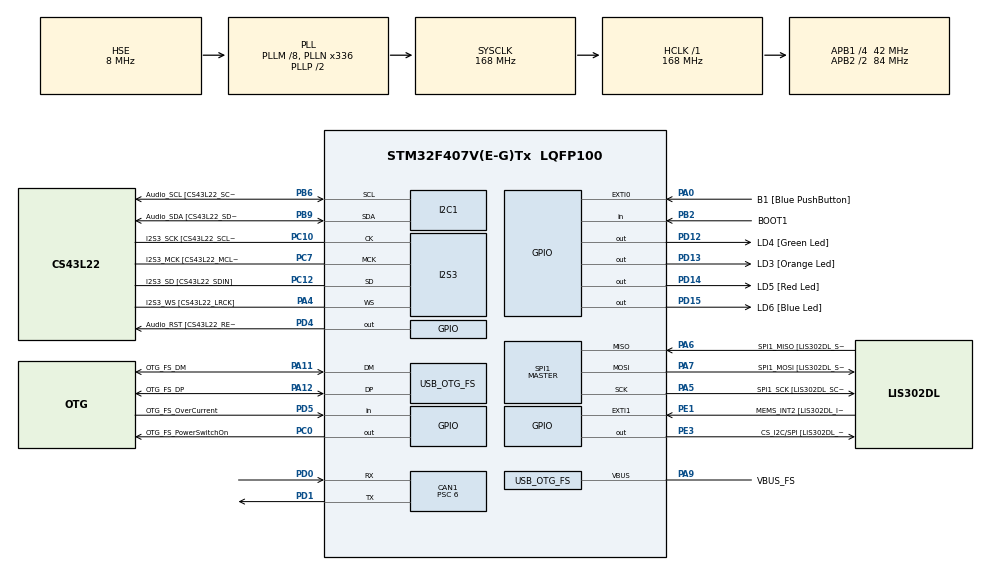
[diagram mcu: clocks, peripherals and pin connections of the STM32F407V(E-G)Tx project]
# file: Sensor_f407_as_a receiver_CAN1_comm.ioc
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CAN1.ABOM=ENABLE
CAN1.BS1=CAN_BS1_11TQ
CAN1.BS2=CAN_BS2_2TQ
CAN1.CalculateBaudRate=500000
CAN1.CalculateTimeBit=2000
CAN1.CalculateTimeQuantum=142.85714285714286
CAN1.NART=ENABLE
CAN1.Prescaler=6
I2S3.AudioFreq-Half_Duplex_Master=I2S_AUDIOFREQ_96K
I2S3.ErrorAudioFreq=-2.34 %
I2S3.ErrorAudioFreq-Half_Duplex_Master=0.8 %
I2S3.FullDuplexMode=I2S_FULLDUPLEXMODE_DISABLE
I2S3.Instance=SPI$Index
I2S3.RealAudioFreq=93.75 KHz
I2S3.RealAudioFreq-Half_Duplex_Master=96.774 KHz
I2S3.VirtualMode=I2S_MODE_MASTER
Mcu.Family=STM32F4
Mcu.Name=STM32F407V(E-G)Tx
Mcu.Package=LQFP100
NVIC.CAN1_RX0_IRQn=true\:0\:0\:false\:false\:true\:true\:true\:true
NVIC.OTG_FS_IRQn=true\:0\:0\:false\:false\:true\:true\:true\:true
NVIC.PriorityGroup=NVIC_PRIORITYGROUP_0
PA0-WKUP.GPIO_Label=B1 [Blue PushButton]
PA0-WKUP.GPIO_ModeDefaultEXTI=GPIO_MODE_EVT_RISING
PA0-WKUP.GPIO_PuPd=GPIO_NOPULL
PA0-WKUP.Signal=GPXTI0
PA10.GPIO_Label=OTG_FS_ID
PA10.GPIO_Mode=GPIO_MODE_AF_PP
PA10.GPIO_PuPd=GPIO_NOPULL
PA10.GPIO_Speed=GPIO_SPEED_FREQ_LOW
PA10.Signal=USB_OTG_FS_ID
PA11.GPIO_Label=OTG_FS_DM
PA11.GPIO_Mode=GPIO_MODE_AF_PP
PA11.GPIO_PuPd=GPIO_NOPULL
PA11.GPIO_Speed=GPIO_SPEED_FREQ_LOW
PA11.Mode=Host_Only
PA11.Signal=USB_OTG_FS_DM
PA12.GPIO_Label=OTG_FS_DP
PA12.GPIO_Mode=GPIO_MODE_AF_PP
PA12.GPIO_PuPd=GPIO_NOPULL
PA12.GPIO_Speed=GPIO_SPEED_FREQ_LOW
PA12.Mode=Host_Only
PA12.Signal=USB_OTG_FS_DP
PA13.GPIO_Label=SWDIO
PA13.Mode=Serial_Wire
PA13.Signal=SYS_JTMS-SWDIO
PA14.GPIO_Label=SWCLK
PA14.Mode=Serial_Wire
PA14.Signal=SYS_JTCK-SWCLK
PA4.GPIO_Label=I2S3_WS [CS43L22_LRCK]
PA4.GPIO_Mode=GPIO_MODE_AF_PP
PA4.GPIO_PuPd=GPIO_NOPULL
PA4.GPIO_Speed=GPIO_SPEED_FREQ_LOW
PA4.Mode=Half_Duplex_Master
PA4.Signal=I2S3_WS
PA5.GPIO_Label=SPI1_SCK [LIS302DL_SCL/SPC]
PA5.GPIO_Mode=GPIO_MODE_AF_PP
PA5.GPIO_PuPd=GPIO_NOPULL
PA5.GPIO_Speed=GPIO_SPEED_FREQ_LOW
PA5.Mode=Full_Duplex_Master
PA5.Signal=SPI1_SCK
PA6.GPIO_Label=SPI1_MISO [LIS302DL_SDO]
PA6.GPIO_Mode=GPIO_MODE_AF_PP
PA6.GPIO_PuPd=GPIO_NOPULL
PA6.GPIO_Speed=GPIO_SPEED_FREQ_LOW
PA6.Mode=Full_Duplex_Master
PA6.Signal=SPI1_MISO
PA7.GPIO_Label=SPI1_MOSI [LIS302DL_SDA/SDI/SDO]
PA7.GPIO_Mode=GPIO_MODE_AF_PP
PA7.GPIO_PuPd=GPIO_NOPULL
PA7.GPIO_Speed=GPIO_SPEED_FREQ_LOW
PA7.Mode=Full_Duplex_Master
PA7.Signal=SPI1_MOSI
PA9.GPIO_Label=VBUS_FS
PA9.GPIO_Mode=GPIO_MODE_INPUT
PA9.GPIO_PuPd=GPIO_NOPULL
PA9.Mode=Activate_VBUS
PA9.Signal=USB_OTG_FS_VBUS
PB10.GPIO_Label=CLK_IN [MP45DT02_CLK]
PB10.GPIO_Mode=GPIO_MODE_AF_PP
PB10.GPIO_PuPd=GPIO_NOPULL
PB10.GPIO_Speed=GPIO_SPEED_FREQ_LOW
PB10.Signal=I2S2_CK
PB2.GPIO_Label=BOOT1
PB2.GPIO_Mode=GPIO_MODE_INPUT
PB2.GPIO_PuPd=GPIO_NOPULL
PB2.Signal=GPIO_Input
PB3.GPIO_Label=SWO
PB3.Signal=SYS_JTDO-SWO
PB6.GPIO_Label=Audio_SCL [CS43L22_SCL]
PB6.GPIO_Mode=GPIO_MODE_AF_OD
PB6.GPIO_Pu=GPIO_PULLUP
PB6.GPIO_PuPd=GPIO_NOPULL
PB6.GPIO_Speed=GPIO_SPEED_FREQ_LOW
PB6.Mode=I2C
PB6.Signal=I2C1_SCL
PB9.GPIO_Label=Audio_SDA [CS43L22_SDA]
PB9.GPIO_Mode=GPIO_MODE_AF_OD
PB9.GPIO_Pu=GPIO_PULLUP
PB9.GPIO_PuPd=GPIO_NOPULL
PB9.GPIO_Speed=GPIO_SPEED_FREQ_LOW
PB9.Mode=I2C
PB9.Signal=I2C1_SDA
PC0.GPIO_Label=OTG_FS_PowerSwitchOn
PC0.GPIO_PuPd=GPIO_NOPULL
PC0.GPIO_Speed=GPIO_SPEED_FREQ_LOW
PC0.PinState=GPIO_PIN_SET
PC0.Signal=GPIO_Output
PC10.GPIO_Label=I2S3_SCK [CS43L22_SCLK]
PC10.GPIO_Mode=GPIO_MODE_AF_PP
PC10.GPIO_PuPd=GPIO_NOPULL
PC10.GPIO_Speed=GPIO_SPEED_FREQ_LOW
PC10.Mode=Half_Duplex_Master
PC10.Signal=I2S3_CK
PC12.GPIO_Label=I2S3_SD [CS43L22_SDIN]
PC12.GPIO_Mode=GPIO_MODE_AF_PP
PC12.GPIO_PuPd=GPIO_NOPULL
PC12.GPIO_Speed=GPIO_SPEED_FREQ_LOW
PC12.Mode=Half_Duplex_Master
PC12.Signal=I2S3_SD
PC14-OSC32_IN.GPIO_Label=PC14-OSC32_IN
PC14-OSC32_IN.Mode=LSE-External-Oscillator
PC14-OSC32_IN.Signal=RCC_OSC32_IN
PC15-OSC32_OUT.GPIO_Label=PC15-OSC32_OUT
PC15-OSC32_OUT.Mode=LSE-External-Oscillator
PC15-OSC32_OUT.Signal=RCC_OSC32_OUT
PC3.GPIO_Label=PDM_OUT [MP45DT02_DOUT]
PC3.GPIO_Mode=GPIO_MODE_AF_PP
PC3.GPIO_PuPd=GPIO_NOPULL
PC3.GPIO_Speed=GPIO_SPEED_FREQ_LOW
PC3.Signal=I2S2_SD
PC7.GPIO_Label=I2S3_MCK [CS43L22_MCLK]
PC7.GPIO_Mode=GPIO_MODE_AF_PP
PC7.GPIO_PuPd=GPIO_NOPULL
PC7.GPIO_Speed=GPIO_SPEED_FREQ_LOW
PC7.Mode=Master_Clock_Activated
PC7.Signal=I2S3_MCK
PD0.Mode=CAN_Activate
PD0.Signal=CAN1_RX
PD1.Mode=CAN_Activate
PD1.Signal=CAN1_TX
PD12.GPIO_Label=LD4 [Green Led]
PD12.GPIO_PuPd=GPIO_NOPULL
PD12.GPIO_Speed=GPIO_SPEED_FREQ_LOW
PD12.Signal=GPIO_Output
PD13.GPIO_Label=LD3 [Orange Led]
PD13.GPIO_PuPd=GPIO_NOPULL
PD13.GPIO_Speed=GPIO_SPEED_FREQ_LOW
PD13.Signal=GPIO_Output
PD14.GPIO_Label=LD5 [Red Led]
PD14.GPIO_PuPd=GPIO_NOPULL
PD14.GPIO_Speed=GPIO_SPEED_FREQ_LOW
PD14.Signal=GPIO_Output
PD15.GPIO_Label=LD6 [Blue Led]
PD15.GPIO_PuPd=GPIO_NOPULL
PD15.GPIO_Speed=GPIO_SPEED_FREQ_LOW
PD15.Signal=GPIO_Output
PD4.GPIO_Label=Audio_RST [CS43L22_RESET]
PD4.GPIO_PuPd=GPIO_NOPULL
PD4.GPIO_Speed=GPIO_SPEED_FREQ_LOW
PD4.Signal=GPIO_Output
PD5.GPIO_Label=OTG_FS_OverCurrent
PD5.GPIO_Mode=GPIO_MODE_INPUT
PD5.GPIO_PuPd=GPIO_NOPULL
PD5.Signal=GPIO_Input
PE1.GPIO_Label=MEMS_INT2 [LIS302DL_INT2]
PE1.GPIO_ModeDefaultEXTI=GPIO_MODE_EVT_RISING
PE1.GPIO_PuPd=GPIO_NOPULL
PE1.Signal=GPXTI1
PE3.GPIO_Label=CS_I2C/SPI [LIS302DL_CS_I2C/SPI]
PE3.GPIO_PuPd=GPIO_NOPULL
PE3.GPIO_Speed=GPIO_SPEED_FREQ_LOW
PE3.Signal=GPIO_Output
PH0-OSC_IN.GPIO_Label=PH0-OSC_IN
PH0-OSC_IN.Mode=HSE-External-Oscillator
PH0-OSC_IN.Signal=RCC_OSC_IN
PH1-OSC_OUT.GPIO_Label=PH1-OSC_OUT
PH1-OSC_OUT.Mode=HSE-External-Oscillator
PH1-OSC_OUT.Signal=RCC_OSC_OUT
ProjectManager.HeapSize=0x200
ProjectManager.StackSize=0x400
ProjectManager.TargetToolchain=STM32CubeIDE
RCC.48MHZClocksFreq_Value=48000000
RCC.AHBFreq_Value=168000000
RCC.APB1CLKDivider=RCC_HCLK_DIV4
RCC.APB1Freq_Value=42000000
RCC.APB1TimFreq_Value=84000000
RCC.APB2CLKDivider=RCC_HCLK_DIV2
RCC.APB2Freq_Value=84000000
RCC.APB2TimFreq_Value=168000000
RCC.CortexFreq_Value=168000000
RCC.HCLKFreq_Value=168000000
RCC.HSE_VALUE=8000000
RCC.HSI_VALUE=16000000
RCC.PLLM=8
RCC.PLLN=336
RCC.PLLQ=7
RCC.SYSCLKFreq_VALUE=168000000
RCC.SYSCLKSource=RCC_SYSCLKSOURCE_PLLCLK
RCC.VCOOutputFreq_Value=336000000
SPI1.BaudRatePrescaler-Full_Duplex_Master=SPI_BAUDRATEPRESCALER_2
SPI1.CalculateBaudRate-Full_Duplex_Master=42.0 MBits/s
SPI1.Direction=SPI_DIRECTION_2LINES
SPI1.Mode=SPI_MODE_MASTER
SPI1.Mode-Full_Duplex_Master=SPI_MODE_MASTER
SPI1.VirtualType=VM_MASTER
USB_HOST.BSP.number=1
USB_HOST.USBH_HandleTypeDef-CDC_FS=hUsbHostFS
USB_HOST.VirtualModeFS=Cdc
USB_HOST0.BSP.STBoard=false
USB_HOST0.BSP.api=Unknown
USB_HOST0.BSP.instance=PC0
USB_HOST0.BSP.ip=GPIO
USB_HOST0.BSP.mode=Output
USB_HOST0.BSP.name=Drive_VBUS_FS
USB_HOST0.BSP.solution=PC0
USB_OTG_FS.VirtualMode=Host_Only
USB_OTG_FS.phy_itface=HCD_PHY_EMBEDDED
VP_USB_HOST_VS_USB_HOST_CDC_FS.Mode=CDC_FS
board=STM32F407G-DISC1

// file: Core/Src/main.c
/* USER CODE BEGIN Header */
/**
  ******************************************************************************
  * @file           : main.c
  * @brief          : Main program body
  ******************************************************************************
  * @attention
  *
  * Copyright (c) 2026 STMicroelectronics.
  * All rights reserved.
  *
  * This software is licensed under terms that can be found in the LICENSE file
  * in the root directory of this software component.
  * If no LICENSE file comes with this software, it is provided AS-IS.
  *
  ******************************************************************************
  */
/* USER CODE END Header */
#include "main.h"
#include "usb_host.h"

CAN_HandleTypeDef hcan1;

I2C_HandleTypeDef hi2c1;

I2S_HandleTypeDef hi2s3;

SPI_HandleTypeDef hspi1;

void SystemClock_Config(void);
static void MX_GPIO_Init(void);
static void MX_I2C1_Init(void);
static void MX_I2S3_Init(void);
static void MX_SPI1_Init(void);
static void MX_CAN1_Init(void);
void MX_USB_HOST_Process(void);

int main(void)
{

  /* MCU Configuration--------------------------------------------------------*/

  /* Reset of all peripherals, Initializes the Flash interface and the Systick. */
  HAL_Init();

  /* Configure the system clock */
  SystemClock_Config();

  /* Initialize all configured peripherals */
  MX_GPIO_Init();
  MX_I2C1_Init();
  MX_I2S3_Init();
  MX_SPI1_Init();
  MX_USB_HOST_Init();
  MX_CAN1_Init();
  /* USER CODE BEGIN 2 */

  CAN_FilterTypeDef filter;

  filter.FilterBank = 0;
  filter.FilterMode = CAN_FILTERMODE_IDMASK;
  filter.FilterScale = CAN_FILTERSCALE_32BIT;
  filter.FilterIdHigh = 0x0000;
  filter.FilterIdLow = 0x0000;
  filter.FilterMaskIdHigh = 0x0000;
  filter.FilterMaskIdLow = 0x0000;
  filter.FilterFIFOAssignment = CAN_FILTER_FIFO0;
  filter.FilterActivation = ENABLE;

  HAL_CAN_ConfigFilter(&hcan1, &filter);

  HAL_CAN_Start(&hcan1);

  /* Enable RX interrupt */
  HAL_CAN_ActivateNotification(&hcan1,
                               CAN_IT_RX_FIFO0_MSG_PENDING);
  /* USER CODE END 2 */

  /* Infinite loop */
  while (1)
  {
    MX_USB_HOST_Process();

  }
}

void SystemClock_Config(void)
{
  RCC_OscInitTypeDef RCC_OscInitStruct = {0};
  RCC_ClkInitTypeDef RCC_ClkInitStruct = {0};

  /** Configure the main internal regulator output voltage
  */
  __HAL_RCC_PWR_CLK_ENABLE();
  __HAL_PWR_VOLTAGESCALING_CONFIG(PWR_REGULATOR_VOLTAGE_SCALE1);

  /** Initializes the RCC Oscillators according to the specified parameters
  * in the RCC_OscInitTypeDef structure.
  */
  RCC_OscInitStruct.OscillatorType = RCC_OSCILLATORTYPE_HSE;
  RCC_OscInitStruct.HSEState = RCC_HSE_ON;
  RCC_OscInitStruct.PLL.PLLState = RCC_PLL_ON;
  RCC_OscInitStruct.PLL.PLLSource = RCC_PLLSOURCE_HSE;
  RCC_OscInitStruct.PLL.PLLM = 8;
  RCC_OscInitStruct.PLL.PLLN = 336;
  RCC_OscInitStruct.PLL.PLLP = RCC_PLLP_DIV2;
  RCC_OscInitStruct.PLL.PLLQ = 7;
  if (HAL_RCC_OscConfig(&RCC_OscInitStruct) != HAL_OK)
  {
    Error_Handler();
  }

  /** Initializes the CPU, AHB and APB buses clocks
  */
  RCC_ClkInitStruct.ClockType = RCC_CLOCKTYPE_HCLK|RCC_CLOCKTYPE_SYSCLK
                              |RCC_CLOCKTYPE_PCLK1|RCC_CLOCKTYPE_PCLK2;
  RCC_ClkInitStruct.SYSCLKSource = RCC_SYSCLKSOURCE_PLLCLK;
  RCC_ClkInitStruct.AHBCLKDivider = RCC_SYSCLK_DIV1;
  RCC_ClkInitStruct.APB1CLKDivider = RCC_HCLK_DIV4;
  RCC_ClkInitStruct.APB2CLKDivider = RCC_HCLK_DIV2;

  if (HAL_RCC_ClockConfig(&RCC_ClkInitStruct, FLASH_LATENCY_5) != HAL_OK)
  {
    Error_Handler();
  }
}

static void MX_CAN1_Init(void)
{

  hcan1.Instance = CAN1;
  hcan1.Init.Prescaler = 6;
  hcan1.Init.Mode = CAN_MODE_NORMAL;
  hcan1.Init.SyncJumpWidth = CAN_SJW_1TQ;
  hcan1.Init.TimeSeg1 = CAN_BS1_11TQ;
  hcan1.Init.TimeSeg2 = CAN_BS2_2TQ;
  hcan1.Init.TimeTriggeredMode = DISABLE;
  hcan1.Init.AutoBusOff = ENABLE;
  hcan1.Init.AutoWakeUp = DISABLE;
  hcan1.Init.AutoRetransmission = ENABLE;
  hcan1.Init.ReceiveFifoLocked = DISABLE;
  hcan1.Init.TransmitFifoPriority = DISABLE;
  if (HAL_CAN_Init(&hcan1) != HAL_OK)
  {
    Error_Handler();
  }

}

static void MX_I2C1_Init(void)
{

  hi2c1.Instance = I2C1;
  hi2c1.Init.ClockSpeed = 100000;
  hi2c1.Init.DutyCycle = I2C_DUTYCYCLE_2;
  hi2c1.Init.OwnAddress1 = 0;
  hi2c1.Init.AddressingMode = I2C_ADDRESSINGMODE_7BIT;
  hi2c1.Init.DualAddressMode = I2C_DUALADDRESS_DISABLE;
  hi2c1.Init.OwnAddress2 = 0;
  hi2c1.Init.GeneralCallMode = I2C_GENERALCALL_DISABLE;
  hi2c1.Init.NoStretchMode = I2C_NOSTRETCH_DISABLE;
  if (HAL_I2C_Init(&hi2c1) != HAL_OK)
  {
    Error_Handler();
  }

}

static void MX_I2S3_Init(void)
{

  hi2s3.Instance = SPI3;
  hi2s3.Init.Mode = I2S_MODE_MASTER_TX;
  hi2s3.Init.Standard = I2S_STANDARD_PHILIPS;
  hi2s3.Init.DataFormat = I2S_DATAFORMAT_16B;
  hi2s3.Init.MCLKOutput = I2S_MCLKOUTPUT_ENABLE;
  hi2s3.Init.AudioFreq = I2S_AUDIOFREQ_96K;
  hi2s3.Init.CPOL = I2S_CPOL_LOW;
  hi2s3.Init.ClockSource = I2S_CLOCK_PLL;
  hi2s3.Init.FullDuplexMode = I2S_FULLDUPLEXMODE_DISABLE;
  if (HAL_I2S_Init(&hi2s3) != HAL_OK)
  {
    Error_Handler();
  }

}

static void MX_SPI1_Init(void)
{

  /* SPI1 parameter configuration*/
  hspi1.Instance = SPI1;
  hspi1.Init.Mode = SPI_MODE_MASTER;
  hspi1.Init.Direction = SPI_DIRECTION_2LINES;
  hspi1.Init.DataSize = SPI_DATASIZE_8BIT;
  hspi1.Init.CLKPolarity = SPI_POLARITY_LOW;
  hspi1.Init.CLKPhase = SPI_PHASE_1EDGE;
  hspi1.Init.NSS = SPI_NSS_SOFT;
  hspi1.Init.BaudRatePrescaler = SPI_BAUDRATEPRESCALER_2;
  hspi1.Init.FirstBit = SPI_FIRSTBIT_MSB;
  hspi1.Init.TIMode = SPI_TIMODE_DISABLE;
  hspi1.Init.CRCCalculation = SPI_CRCCALCULATION_DISABLE;
  hspi1.Init.CRCPolynomial = 10;
  if (HAL_SPI_Init(&hspi1) != HAL_OK)
  {
    Error_Handler();
  }

}

static void MX_GPIO_Init(void)
{
  GPIO_InitTypeDef GPIO_InitStruct = {0};

  /* GPIO Ports Clock Enable */
  __HAL_RCC_GPIOE_CLK_ENABLE();
  __HAL_RCC_GPIOC_CLK_ENABLE();
  __HAL_RCC_GPIOH_CLK_ENABLE();
  __HAL_RCC_GPIOA_CLK_ENABLE();
  __HAL_RCC_GPIOB_CLK_ENABLE();
  __HAL_RCC_GPIOD_CLK_ENABLE();

  /*Configure GPIO pin Output Level */
  HAL_GPIO_WritePin(CS_I2C_SPI_GPIO_Port, CS_I2C_SPI_Pin, GPIO_PIN_RESET);

  /*Configure GPIO pin Output Level */
  HAL_GPIO_WritePin(OTG_FS_PowerSwitchOn_GPIO_Port, OTG_FS_PowerSwitchOn_Pin, GPIO_PIN_SET);

  /*Configure GPIO pin Output Level */
  HAL_GPIO_WritePin(GPIOD, LD4_Pin|LD3_Pin|LD5_Pin|LD6_Pin
                          |Audio_RST_Pin, GPIO_PIN_RESET);

  /*Configure GPIO pin : CS_I2C_SPI_Pin */
  GPIO_InitStruct.Pin = CS_I2C_SPI_Pin;
  GPIO_InitStruct.Mode = GPIO_MODE_OUTPUT_PP;
  GPIO_InitStruct.Pull = GPIO_NOPULL;
  GPIO_InitStruct.Speed = GPIO_SPEED_FREQ_LOW;
  HAL_GPIO_Init(CS_I2C_SPI_GPIO_Port, &GPIO_InitStruct);

  /*Configure GPIO pin : OTG_FS_PowerSwitchOn_Pin */
  GPIO_InitStruct.Pin = OTG_FS_PowerSwitchOn_Pin;
  GPIO_InitStruct.Mode = GPIO_MODE_OUTPUT_PP;
  GPIO_InitStruct.Pull = GPIO_NOPULL;
  GPIO_InitStruct.Speed = GPIO_SPEED_FREQ_LOW;
  HAL_GPIO_Init(OTG_FS_PowerSwitchOn_GPIO_Port, &GPIO_InitStruct);

  /*Configure GPIO pin : PDM_OUT_Pin */
  GPIO_InitStruct.Pin = PDM_OUT_Pin;
  GPIO_InitStruct.Mode = GPIO_MODE_AF_PP;
  GPIO_InitStruct.Pull = GPIO_NOPULL;
  GPIO_InitStruct.Speed = GPIO_SPEED_FREQ_LOW;
  GPIO_InitStruct.Alternate = GPIO_AF5_SPI2;
  HAL_GPIO_Init(PDM_OUT_GPIO_Port, &GPIO_InitStruct);

  /*Configure GPIO pin : B1_Pin */
  GPIO_InitStruct.Pin = B1_Pin;
  GPIO_InitStruct.Mode = GPIO_MODE_EVT_RISING;
  GPIO_InitStruct.Pull = GPIO_NOPULL;
  HAL_GPIO_Init(B1_GPIO_Port, &GPIO_InitStruct);

  /*Configure GPIO pin : BOOT1_Pin */
  GPIO_InitStruct.Pin = BOOT1_Pin;
  GPIO_InitStruct.Mode = GPIO_MODE_INPUT;
  GPIO_InitStruct.Pull = GPIO_NOPULL;
  HAL_GPIO_Init(BOOT1_GPIO_Port, &GPIO_InitStruct);

  /*Configure GPIO pin : CLK_IN_Pin */
  GPIO_InitStruct.Pin = CLK_IN_Pin;
  GPIO_InitStruct.Mode = GPIO_MODE_AF_PP;
  GPIO_InitStruct.Pull = GPIO_NOPULL;
  GPIO_InitStruct.Speed = GPIO_SPEED_FREQ_LOW;
  GPIO_InitStruct.Alternate = GPIO_AF5_SPI2;
  HAL_GPIO_Init(CLK_IN_GPIO_Port, &GPIO_InitStruct);

  /*Configure GPIO pins : LD4_Pin LD3_Pin LD5_Pin LD6_Pin
                           Audio_RST_Pin */
  GPIO_InitStruct.Pin = LD4_Pin|LD3_Pin|LD5_Pin|LD6_Pin
                          |Audio_RST_Pin;
  GPIO_InitStruct.Mode = GPIO_MODE_OUTPUT_PP;
  GPIO_InitStruct.Pull = GPIO_NOPULL;
  GPIO_InitStruct.Speed = GPIO_SPEED_FREQ_LOW;
  HAL_GPIO_Init(GPIOD, &GPIO_InitStruct);

  /*Configure GPIO pin : OTG_FS_OverCurrent_Pin */
  GPIO_InitStruct.Pin = OTG_FS_OverCurrent_Pin;
  GPIO_InitStruct.Mode = GPIO_MODE_INPUT;
  GPIO_InitStruct.Pull = GPIO_NOPULL;
  HAL_GPIO_Init(OTG_FS_OverCurrent_GPIO_Port, &GPIO_InitStruct);

  /*Configure GPIO pin : MEMS_INT2_Pin */
  GPIO_InitStruct.Pin = MEMS_INT2_Pin;
  GPIO_InitStruct.Mode = GPIO_MODE_EVT_RISING;
  GPIO_InitStruct.Pull = GPIO_NOPULL;
  HAL_GPIO_Init(MEMS_INT2_GPIO_Port, &GPIO_InitStruct);

}

/* USER CODE BEGIN 4 */

void HAL_CAN_RxFifo0MsgPendingCallback(CAN_HandleTypeDef *hcan)
{
    CAN_RxHeaderTypeDef RxHeader;
    uint8_t RxData[9];   // <-- make it 9 bytes

    HAL_CAN_GetRxMessage(hcan,
                         CAN_RX_FIFO0,
                         &RxHeader,
                         RxData);

    HAL_GPIO_TogglePin(GPIOD, LD4_Pin);

    RxData[RxHeader.DLC] = '\0';   // now safe

    // You can put breakpoint here
}
/* USER CODE END 4 */

void Error_Handler(void)
{
  __disable_irq();
  while (1)
  {
  }
}
